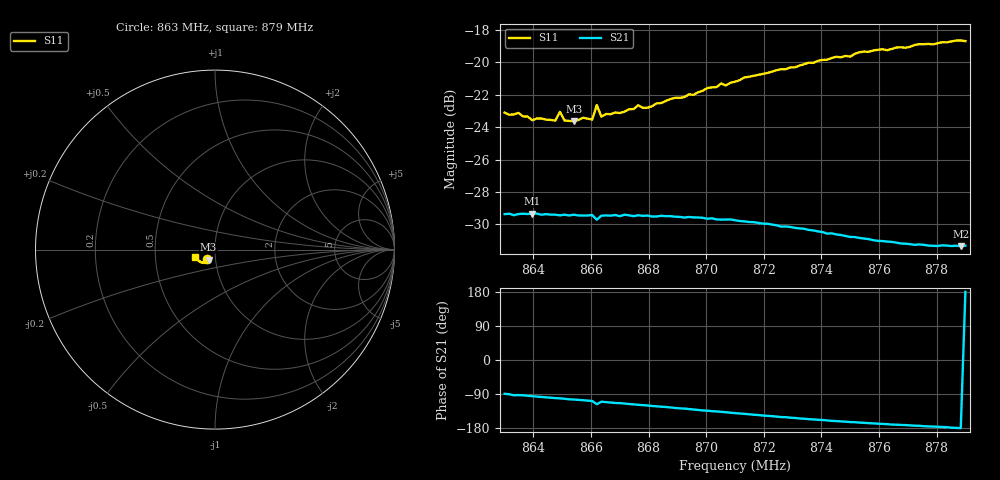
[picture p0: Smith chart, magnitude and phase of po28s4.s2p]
# HZ S RI R 50
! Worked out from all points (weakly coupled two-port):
!   101 points, 863 MHz to 879 MHz, reference 50 ohm
!   highest |S21| = -29.32 dB at 863.96 MHz (marker M1); lowest = -31.3 dB at 878.84 MHz (marker M2)
!   lowest |S11| = -23.6 dB at 865.4 MHz (marker M3), VSWR 1.14, Z = 46.3 - j5.15 ohm
!   |S11| at or under -10 dB: start of sweep to end of sweep
!   S12 and S22 are empty: the file has one direction only
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8.63e8  -0.045 -0.0535  0.000492 -0.034  0 0  0 0
8.6348e8  -0.0455 -0.0529  -0.00151 -0.034  0 0  0 0
8.6396e8  -0.04 -0.0528  -0.0032 -0.034  0 0  0 0
8.6476e8  -0.037 -0.0548  -0.00619 -0.0333  0 0  0 0
8.6492e8  -0.043 -0.0557  -0.00653 -0.0331  0 0  0 0
8.6508e8  -0.0365 -0.0552  -0.00724 -0.0331  0 0  0 0
8.654e8  -0.0355 -0.0553  -0.00831 -0.0329  0 0  0 0
8.6572e8  -0.0353 -0.0575  -0.00933 -0.0324  0 0  0 0
8.6604e8  -0.0345 -0.057  -0.0106 -0.0321  0 0  0 0
8.662e8  -0.0429 -0.0601  -0.0147 -0.0292  0 0  0 0
8.6636e8  -0.0352 -0.0582  -0.0116 -0.0316  0 0  0 0
8.6748e8  -0.0349 -0.0627  -0.0153 -0.0299  0 0  0 0
8.6764e8  -0.0368 -0.0639  -0.016 -0.0297  0 0  0 0
8.6796e8  -0.0351 -0.0634  -0.0169 -0.0292  0 0  0 0
8.6844e8  -0.037 -0.0651  -0.0184 -0.0281  0 0  0 0
8.7052e8  -0.0463 -0.0726  -0.0239 -0.0224  0 0  0 0
8.71e8  -0.0478 -0.0728  -0.025 -0.0209  0 0  0 0
8.7372e8  -0.0671 -0.0737  -0.0279 -0.0119  0 0  0 0
8.7532e8  -0.0832 -0.0678  -0.0278 -0.00736  0 0  0 0
8.7644e8  -0.0912 -0.0614  -0.0276 -0.00466  0 0  0 0
8.7884e8  -0.1089 -0.0421  -0.0271 -0.000174  0 0  0 0
8.79e8  -0.1093 -0.0394  -0.0272 7.3e-05  0 0  0 0
